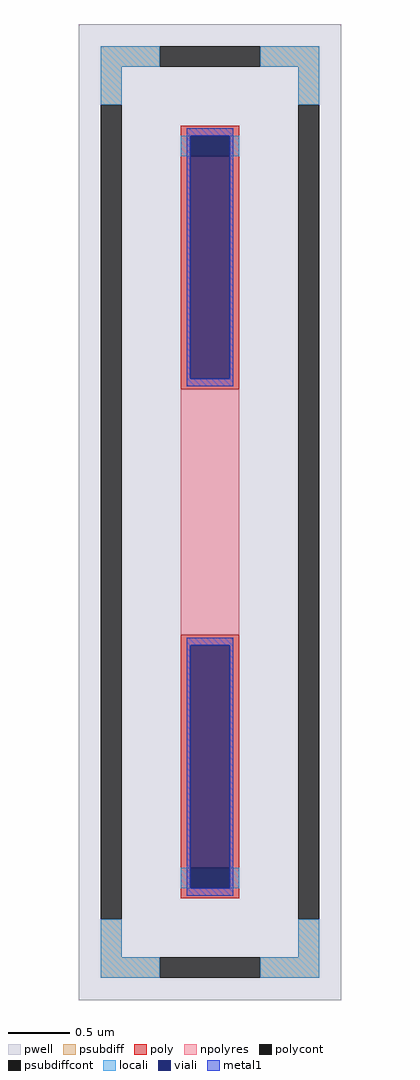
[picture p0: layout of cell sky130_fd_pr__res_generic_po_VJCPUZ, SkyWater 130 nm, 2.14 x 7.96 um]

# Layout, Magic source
magic
tech sky130A
magscale 1 2
<< pwell >>
rect -214 -796 214 796
<< psubdiff >>
rect -178 726 -82 760
rect 82 726 178 760
rect -178 664 -144 726
rect 144 664 178 726
rect -178 -726 -144 -664
rect 144 -726 178 -664
rect -178 -760 -82 -726
rect 82 -760 178 -726
<< psubdiffcont >>
rect -82 726 82 760
rect -178 -664 -144 664
rect 144 -664 178 664
rect -82 -760 82 -726
<< poly >>
rect -48 614 48 630
rect -48 580 -32 614
rect 32 580 48 614
rect -48 200 48 580
rect -48 -580 48 -200
rect -48 -614 -32 -580
rect 32 -614 48 -580
rect -48 -630 48 -614
<< polycont >>
rect -32 580 32 614
rect -32 -614 32 -580
<< npolyres >>
rect -48 -200 48 200
<< locali >>
rect -178 726 -82 760
rect 82 726 178 760
rect -178 664 -144 726
rect 144 664 178 726
rect -48 580 -32 614
rect 32 580 48 614
rect -48 -614 -32 -580
rect 32 -614 48 -580
rect -178 -726 -144 -664
rect 144 -726 178 -664
rect -178 -760 -82 -726
rect 82 -760 178 -726
<< viali >>
rect -32 580 32 614
rect -32 217 32 580
rect -32 -580 32 -217
rect -32 -614 32 -580
<< metal1 >>
rect -38 614 38 626
rect -38 217 -32 614
rect 32 217 38 614
rect -38 205 38 217
rect -38 -217 38 -205
rect -38 -614 -32 -217
rect 32 -614 38 -217
rect -38 -626 38 -614
<< properties >>
string FIXED_BBOX -161 -743 161 743
string gencell sky130_fd_pr__res_generic_po
string library sky130
string parameters w 0.482 l 2 m 1 nx 1 wmin 0.330 lmin 1.650 rho 48.2 val 200.0 dummy 0 dw 0.0 term 0.0 sterm 0.0 caplen 0.4 snake 0 guard 1 glc 1 grc 1 gtc 1 gbc 1 roverlap 0 endcov 100 full_metal 1 hv_guard 0 n_guard 0 vias 1 viagb 0 viagt 0 viagl 0 viagr 0
<< end >>
